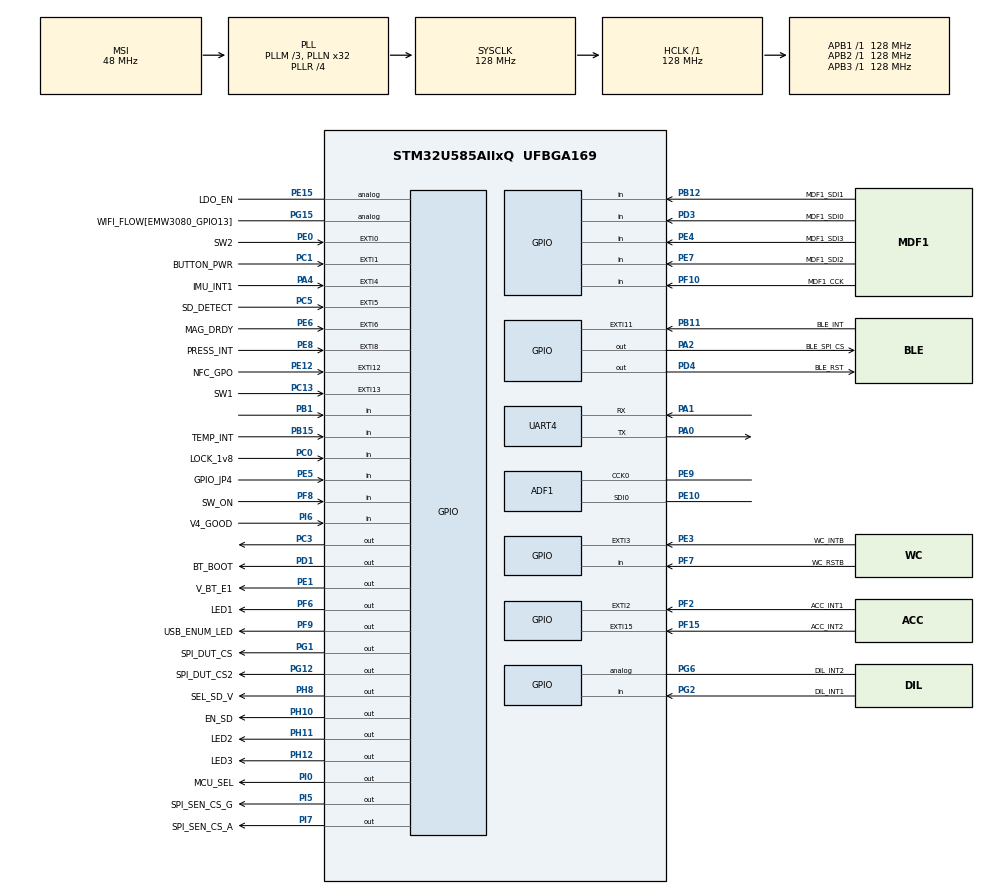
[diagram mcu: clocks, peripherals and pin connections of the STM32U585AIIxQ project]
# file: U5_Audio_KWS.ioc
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ADF1.MDF_COMPARAM_ActivationOutputClock=ENABLE
ADF1.MDF_COMPARAM_Divider=8
ADF1.MDF_COMPARAM_ProcClockDivider=1
ADF1.MDF_DFLT0_CIC_Mode=MDF_ONE_FILTER_SINC5
ADF1.MDF_DFLT0_Decimation=32
ADF1.MDF_DFLT0_Gain=0
ADF1.MDF_DFLT0_HighPassFilterActivation=ENABLE
ADF1.MDF_DFLT0_ReshapeFilterActivation=ENABLE
ADF1.MDF_DFLT0_ReshapeFilterDecimationRatio=MDF_RSF_DECIMATION_RATIO_4
ADF1.MDF_DFLT0_SADActivation=DISABLE
ADF1.MDF_SITF0_Mode_Display=MDF_SITF_NORMAL_SPI_MODE
CORTEX_M33_NS.userName=CORTEX_M33
GPDMA1.CIRCULARMODE_GPDMACH0=ENABLE
GPDMA1.DATAHANDLING_GPDMACH0=ENABLE
GPDMA1.DESTDATAWIDTH_GPDMACH0=DMA_DEST_DATAWIDTH_HALFWORD
GPDMA1.DESTINC_GPDMACH0=DMA_DINC_INCREMENTED
GPDMA1.IPHANDLE_GPDMACH0-SIMPLEREQUEST_GPDMACH0=__NULL
GPDMA1.REQUEST_GPDMACH0=GPDMA1_REQUEST_ADF1_FLT0
GPDMA1.SRCDATAWIDTH_GPDMACH0=DMA_SRC_DATAWIDTH_HALFWORD
GPDMA1.TRANSFERALLOCATEDPORTDEST_GPDMACH0=DMA_DEST_ALLOCATED_PORT0
Mcu.Family=STM32U5
Mcu.Name=STM32U585AIIxQ
Mcu.Package=UFBGA169
NVIC.ADF1_IRQn=true\:0\:0\:false\:false\:true\:true\:true\:true
NVIC.EXTI0_IRQn=true\:7\:0\:true\:false\:true\:true\:true\:false
NVIC.EXTI11_IRQn=true\:0\:0\:false\:false\:true\:true\:true\:true
NVIC.EXTI13_IRQn=true\:0\:0\:false\:false\:true\:true\:true\:true
NVIC.EXTI15_IRQn=true\:7\:0\:true\:false\:true\:true\:true\:false
NVIC.EXTI1_IRQn=true\:7\:0\:true\:false\:true\:true\:true\:false
NVIC.EXTI2_IRQn=true\:7\:0\:true\:false\:true\:true\:true\:false
NVIC.EXTI3_IRQn=true\:7\:0\:true\:false\:true\:true\:true\:false
NVIC.EXTI4_IRQn=true\:7\:0\:true\:false\:true\:true\:true\:false
NVIC.EXTI5_IRQn=true\:7\:0\:true\:false\:true\:true\:true\:false
NVIC.EXTI6_IRQn=true\:7\:0\:true\:false\:true\:true\:true\:false
NVIC.EXTI8_IRQn=true\:7\:0\:true\:false\:true\:true\:true\:true
NVIC.GPDMA1_Channel0_IRQn=true\:0\:0\:false\:false\:true\:false\:true\:true
NVIC.PriorityGroup=NVIC_PRIORITYGROUP_4
PA0.Mode=Asynchronous
PA0.Signal=UART4_TX
PA1.Mode=Asynchronous
PA1.Signal=UART4_RX
PA10.Signal=SAI1_SD_A
PA11.GPIO_Speed=GPIO_SPEED_FREQ_VERY_HIGH
PA11.Signal=USB_OTG_FS_DM
PA12.GPIO_Speed=GPIO_SPEED_FREQ_VERY_HIGH
PA12.PinAttribute=Free
PA12.Signal=USB_OTG_FS_DP
PA13\ (JTMS/SWDIO).Signal=DEBUG_JTMS-SWDIO
PA14\ (JTCK/SWCLK).Signal=DEBUG_JTCK-SWCLK
PA2.GPIO_Label=BLE_SPI_CS
PA2.Signal=GPIO_Output
PA4.GPIO_Label=IMU_INT1
PA4.Signal=GPXTI4
PA5.GPIO_PuPd=GPIO_PULLUP
PA5.GPIO_Speed=GPIO_SPEED_FREQ_HIGH
PA5.Signal=SPI1_SCK
PA6.GPIO_Speed=GPIO_SPEED_FREQ_HIGH
PA6.PinAttribute=Free
PA6.Signal=SPI1_MISO
PA7.GPIO_Speed=GPIO_SPEED_FREQ_HIGH
PA7.Signal=SPI1_MOSI
PA8.Signal=SAI1_SCK_A
PA9.Signal=SAI1_FS_A
PB0.GPIO_Label=VBATT
PB0.Signal=ADC1_IN15
PB1.Signal=GPIO_Input
PB10.Signal=S_TIM2_CH3
PB11.GPIO_Label=BLE_INT
PB11.Signal=GPXTI11
PB12.GPIO_Label=MDF1_SDI1
PB12.Signal=GPIO_Input
PB13.Signal=I2C2_SCL
PB14.Signal=I2C2_SDA
PB15.GPIO_Label=TEMP_INT
PB15.Signal=GPIO_Input
PB3\ (JTDO/TRACESWO).Signal=DEBUG_JTDO-SWO
PB5.GPIO_Speed=GPIO_SPEED_FREQ_HIGH
PB5.Signal=SPI3_MOSI
PB6.Signal=I2C1_SCL
PB7.Signal=I2C1_SDA
PB8.Signal=SDMMC1_CKIN
PB9.Signal=SDMMC1_CDIR
PC0.GPIO_Label=LOCK_1v8
PC0.Signal=GPIO_Input
PC1.GPIO_Label=BUTTON_PWR
PC1.Signal=GPXTI1
PC10.Signal=SDMMC1_D2
PC11.Signal=SDMMC1_D3
PC12.Signal=SDMMC1_CK
PC13.GPIO_Label=SW1
PC13.Signal=GPXTI13
PC14-OSC32_IN\ (PC14).Signal=RCC_OSC32_IN
PC15-OSC32_OUT\ (PC15).Signal=RCC_OSC32_OUT
PC3.PinState=GPIO_PIN_SET
PC3.Signal=GPIO_Output
PC5.GPIO_Label=SD_DETECT
PC5.Signal=GPXTI5
PC6.Signal=SDMMC1_D0DIR
PC7.Signal=SDMMC1_D123DIR
PC8.PinAttribute=Free
PC8.Signal=SDMMC1_D0
PC9.PinAttribute=Free
PC9.Signal=SDMMC1_D1
PD1.GPIO_Label=BT_BOOT
PD1.Signal=GPIO_Output
PD12.Signal=I2C4_SCL
PD13.Signal=I2C4_SDA
PD2.Signal=SDMMC1_CMD
PD3.GPIO_Label=MDF1_SDI0
PD3.Signal=GPIO_Input
PD4.GPIO_Label=BLE_RST
PD4.Signal=GPIO_Output
PD5.Signal=USART2_TX
PD6.Signal=USART2_RX
PE0.GPIO_Label=SW2
PE0.Signal=GPXTI0
PE1.GPIO_Label=V_BT_E1
PE1.PinState=GPIO_PIN_SET
PE1.Signal=GPIO_Output
PE10.Mode=MOD_ADF_CCK
PE10.Signal=ADF1_SDI0
PE12.GPIO_Label=NFC_GPO
PE12.Signal=GPXTI12
PE13.GPIO_Label=PWM_OUT_T1_C3
PE13.Signal=S_TIM1_CH3
PE15.GPIO_Label=LDO_EN
PE15.Signal=GPIO_Analog
PE2.PinAttribute=Free
PE2.Signal=SAI1_MCLK_A
PE3.GPIO_Label=WC_INTB
PE3.Signal=GPXTI3
PE4.GPIO_Label=MDF1_SDI3
PE4.Signal=GPIO_Input
PE5.GPIO_Label=GPIO_JP4
PE5.Signal=GPIO_Input
PE6.GPIO_Label=MAG_DRDY
PE6.Signal=GPXTI6
PE7.GPIO_Label=MDF1_SDI2
PE7.Signal=GPIO_Input
PE8.GPIO_Label=PRESS_INT
PE8.Signal=GPXTI8
PE9.Mode=MOD_MDF_CCK0
PE9.Signal=ADF1_CCK0
PF10.GPIO_Label=MDF1_CCK
PF10.Signal=GPIO_Input
PF15.GPIO_Label=ACC_INT2
PF15.Signal=GPXTI15
PF2.GPIO_Label=ACC_INT1
PF2.GPIO_PuPd=GPIO_PULLDOWN
PF2.Signal=GPXTI2
PF6.GPIO_Label=LED1
PF6.Signal=GPIO_Output
PF7.GPIO_Label=WC_RSTB
PF7.Signal=GPIO_Input
PF8.GPIO_Label=SW_ON
PF8.Signal=GPIO_Input
PF9.GPIO_Label=USB_ENUM_LED
PF9.Signal=GPIO_Output
PG1.GPIO_Label=SPI_DUT_CS
PG1.Signal=GPIO_Output
PG10.GPIO_Speed=GPIO_SPEED_FREQ_HIGH
PG10.Signal=SPI3_MISO
PG12.GPIO_Label=SPI_DUT_CS2
PG12.Signal=GPIO_Output
PG15.GPIO_Label=WIFI_FLOW[EMW3080_GPIO13]
PG15.PinAttribute=Free
PG15.Signal=GPIO_Analog
PG2.GPIO_Label=DIL_INT1
PG2.Signal=GPIO_Input
PG6.GPIO_Label=DIL_INT2
PG6.Signal=GPIO_Analog
PG7.PinAttribute=Free
PG7.Signal=I2C3_SCL
PG8.Signal=I2C3_SDA
PG9.GPIO_PuPd=GPIO_PULLUP
PG9.GPIO_Speed=GPIO_SPEED_FREQ_HIGH
PG9.Signal=SPI3_SCK
PH0-OSC_IN\ (PH0).Mode=HSE-External-Oscillator
PH0-OSC_IN\ (PH0).Signal=RCC_OSC_IN
PH1-OSC_OUT\ (PH1).Mode=HSE-External-Oscillator
PH1-OSC_OUT\ (PH1).Signal=RCC_OSC_OUT
PH10.GPIO_Label=EN_SD
PH10.Signal=GPIO_Output
PH11.GPIO_Label=LED2
PH11.Signal=GPIO_Output
PH12.GPIO_Label=LED3
PH12.Signal=GPIO_Output
PH8.GPIO_Label=SEL_SD_V
PH8.Signal=GPIO_Output
PI0.GPIO_Label=MCU_SEL
PI0.PinState=GPIO_PIN_SET
PI0.Signal=GPIO_Output
PI1.GPIO_PuPd=GPIO_PULLUP
PI1.GPIO_Speed=GPIO_SPEED_FREQ_HIGH
PI1.Signal=SPI2_SCK
PI2.GPIO_Speed=GPIO_SPEED_FREQ_HIGH
PI2.Signal=SPI2_MISO
PI3.GPIO_Speed=GPIO_SPEED_FREQ_HIGH
PI3.Signal=SPI2_MOSI
PI5.GPIO_Label=SPI_SEN_CS_G
PI5.PinState=GPIO_PIN_SET
PI5.Signal=GPIO_Output
PI6.GPIO_Label=V4_GOOD
PI6.PinAttribute=Free
PI6.Signal=GPIO_Input
PI7.GPIO_Label=SPI_SEN_CS_A
PI7.PinState=GPIO_PIN_SET
PI7.Signal=GPIO_Output
PWR.PowerMode=PWR_SMPS_SUPPLY
ProjectManager.HeapSize=0x2000
ProjectManager.StackSize=0x4000
ProjectManager.TargetToolchain=STM32CubeIDE
RCC.ADCCLockSelection=RCC_ADCDACCLKSOURCE_PLL2
RCC.ADCFreq_Value=46080000
RCC.AHBFreq_Value=128000000
RCC.APB1Freq_Value=128000000
RCC.APB1TimFreq_Value=128000000
RCC.APB2Freq_Value=128000000
RCC.APB2TimFreq_Value=128000000
RCC.APB3Freq_Value=128000000
RCC.AdfClockSelection=RCC_ADF1CLKSOURCE_MSIK
RCC.CortexFreq_Value=128000000
RCC.DACCLockSelectionVirtual=RCC_DAC1CLKSOURCE_LSI
RCC.EPOD_VALUE=48000000
RCC.HCLKFreq_Value=128000000
RCC.HSE_VALUE=16000000
RCC.HSI48_VALUE=48000000
RCC.HSI_VALUE=16000000
RCC.LSIDIV_VALUE=32000
RCC.MSIClockRange=RCC_MSIRANGE_0
RCC.MSIKClockRange=RCC_MSIKRANGE_2
RCC.MSI_VALUE=48000000
RCC.MdfClockSelection=RCC_MDF1CLKSOURCE_PLL3
RCC.PLL1P=1
RCC.PLL1R=4
RCC.PLL2FRACN=0
RCC.PLL2M=2
RCC.PLL2N=48
RCC.PLL2Q=7
RCC.PLL2R=25
RCC.PLL3FRACN=0
RCC.PLL3M=3
RCC.PLL3N=25
RCC.PLL3Q=25
RCC.PLLFRACN=0
RCC.PLLM=3
RCC.PLLN=32
RCC.SAI1CLockSelection=RCC_SAI1CLKSOURCE_PLL1
RCC.SDMMCClockSelection=RCC_SDMMCCLKSOURCE_CLK48
RCC.SPI2CLockSelection=RCC_SPI2CLKSOURCE_PCLK1
RCC.SPI3CLockSelection=RCC_SPI3CLKSOURCE_HSI
RCC.SYSCLKFreq_VALUE=128000000
RCC.SYSCLKSource=RCC_SYSCLKSOURCE_PLLCLK
RCC.USBFreq_Value=48000000
RCC.VCOOutputFreq_Value=512000000
SH.S_TIM1_CH3.0=TIM1_CH3
SH.S_TIM2_CH3.0=TIM2_CH3
VP_GPDMA1_VS_GPDMACH0.Mode=SIMPLEREQUEST_GPDMACH0
VP_ICACHE_VS_ICACHE.Mode=DirectMappedCache
VP_LPBAMQUEUE_VS_QUEUE.Mode=QUEUEMODE
VP_LPBAM_VS_SIG1.Mode=SmartRun
VP_LPBAM_VS_SIG4.Mode=LPDMA1
VP_MEMORYMAP_VS_MEMORYMAP.Mode=CurAppReg
VP_PWR_VS_LPOM.Mode=PowerOptimisation
VP_PWR_VS_SECSignals.Mode=Security/Privilege
board=STEVAL-MKBOXPRO

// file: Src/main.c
/* USER CODE BEGIN Header */
/**
  ******************************************************************************
  * @file           : main.c
  * @brief          : Main program body
  ******************************************************************************
  * @attention
  *
  * Copyright (c) 2026 STMicroelectronics.
  * All rights reserved.
  *
  * This software is licensed under terms that can be found in the LICENSE file
  * in the root directory of this software component.
  * If no LICENSE file comes with this software, it is provided AS-IS.
  *
  ******************************************************************************
  */
/* USER CODE END Header */
#include "main.h"
#include "mdf.h"
#include "gpdma.h"
#include "icache.h"
#include "usart.h"
#include "gpio.h"

/* USER CODE BEGIN Includes */
#include "stdio.h"
/* USER CODE END Includes */

/* USER CODE BEGIN PM */
#define AUDIO_SAMPLES 16000
#define DURATION 2U
#define TOTAL_SAMPLES (AUDIO_SAMPLES * DURATION)
/* USER CODE END PM */

/* USER CODE BEGIN PV */
volatile uint8_t audio_start = 0U;
ALIGN_32BYTES(uint16_t audio_buffer[TOTAL_SAMPLES]);
MDF_DmaConfigTypeDef dma_config;
/* USER CODE END PV */

void SystemClock_Config(void);
static void SystemPower_Config(void);

/* USER CODE BEGIN 0 */
int _write(int file, char *ptr, int len){
	HAL_UART_Transmit(&huart4,(uint8_t*)ptr,len,1000);
	return len;
}
volatile uint8_t audio_half_done = 0U;
volatile uint8_t audio_error = 0U;
volatile uint32_t audio_error_code = 0U;

void HAL_MDF_AcqCpltCallback(MDF_HandleTypeDef *hmdf){
	if (hmdf->Instance == ADF1_Filter0) {
		audio_start = 2U;
	}
}
void HAL_MDF_AcqHalfCpltCallback(MDF_HandleTypeDef *hmdf){
	if (hmdf->Instance == ADF1_Filter0) {
		audio_half_done = 1U;
	}
}
void HAL_MDF_ErrorCallback(MDF_HandleTypeDef *hmdf){
	if (hmdf->Instance == ADF1_Filter0) {
		audio_error = 1U;
		audio_error_code = hmdf->ErrorCode;
	}
}
/* USER CODE END 0 */

int main(void)
{

  /* MCU Configuration--------------------------------------------------------*/

  /* Reset of all peripherals, Initializes the Flash interface and the Systick. */
  HAL_Init();

  /* Configure the System Power */
  SystemPower_Config();

  /* Configure the system clock */
  SystemClock_Config();

  /* Initialize all configured peripherals */
  MX_GPIO_Init();
  MX_GPDMA1_Init();
  MX_ADF1_Init();
  MX_UART4_Init();
  MX_ICACHE_Init();

  /* Infinite loop */
  /* USER CODE BEGIN WHILE */
  while (1)
  {
	  if(audio_start == 1){
		  audio_start=0U;
		  HAL_GPIO_WritePin(LED1_GPIO_Port,LED1_Pin,GPIO_PIN_RESET);
		  HAL_GPIO_WritePin(LED3_GPIO_Port,LED3_Pin,GPIO_PIN_SET);
		  dma_config.Address = (uint32_t) audio_buffer;
		  dma_config.DataLength = TOTAL_SAMPLES * 2;
		  dma_config.MsbOnly = ENABLE;
		  if(HAL_MDF_AcqStart_DMA(&AdfHandle0,&AdfFilterConfig0,&dma_config)!=HAL_OK){
			  Error_Handler();
		  }
	  } else if (audio_start == 2){
		  HAL_MDF_AcqStop_DMA(&AdfHandle0);
		  HAL_GPIO_WritePin(LED3_GPIO_Port,LED3_Pin,GPIO_PIN_RESET);
		  HAL_GPIO_WritePin(LED1_GPIO_Port,LED1_Pin,GPIO_PIN_SET);
		  printf("audio acquisition completed\r\n");
		  audio_start = 0U;
	  }

	  if(audio_half_done){
		  audio_half_done = 0U;
		  printf("half done\r\n");
	  }

	  if(audio_error){
		  audio_error = 0U;
		  printf("Error Code: %ld\r\n", audio_error_code);
		  Error_Handler();
	  }
    /* USER CODE END WHILE */

  }
}

void SystemClock_Config(void)
{
  RCC_OscInitTypeDef RCC_OscInitStruct = {0};
  RCC_ClkInitTypeDef RCC_ClkInitStruct = {0};

  /** Configure the main internal regulator output voltage
  */
  if (HAL_PWREx_ControlVoltageScaling(PWR_REGULATOR_VOLTAGE_SCALE1) != HAL_OK)
  {
    Error_Handler();
  }

  /** Initializes the CPU, AHB and APB buses clocks
  */
  RCC_OscInitStruct.OscillatorType = RCC_OSCILLATORTYPE_MSI|RCC_OSCILLATORTYPE_MSIK;
  RCC_OscInitStruct.MSIState = RCC_MSI_ON;
  RCC_OscInitStruct.MSICalibrationValue = RCC_MSICALIBRATION_DEFAULT;
  RCC_OscInitStruct.MSIClockRange = RCC_MSIRANGE_0;
  RCC_OscInitStruct.MSIKClockRange = RCC_MSIKRANGE_2;
  RCC_OscInitStruct.MSIKState = RCC_MSIK_ON;
  RCC_OscInitStruct.PLL.PLLState = RCC_PLL_ON;
  RCC_OscInitStruct.PLL.PLLSource = RCC_PLLSOURCE_MSI;
  RCC_OscInitStruct.PLL.PLLMBOOST = RCC_PLLMBOOST_DIV4;
  RCC_OscInitStruct.PLL.PLLM = 3;
  RCC_OscInitStruct.PLL.PLLN = 32;
  RCC_OscInitStruct.PLL.PLLP = 1;
  RCC_OscInitStruct.PLL.PLLQ = 2;
  RCC_OscInitStruct.PLL.PLLR = 4;
  RCC_OscInitStruct.PLL.PLLRGE = RCC_PLLVCIRANGE_1;
  RCC_OscInitStruct.PLL.PLLFRACN = 0;
  if (HAL_RCC_OscConfig(&RCC_OscInitStruct) != HAL_OK)
  {
    Error_Handler();
  }

  /** Initializes the CPU, AHB and APB buses clocks
  */
  RCC_ClkInitStruct.ClockType = RCC_CLOCKTYPE_HCLK|RCC_CLOCKTYPE_SYSCLK
                              |RCC_CLOCKTYPE_PCLK1|RCC_CLOCKTYPE_PCLK2
                              |RCC_CLOCKTYPE_PCLK3;
  RCC_ClkInitStruct.SYSCLKSource = RCC_SYSCLKSOURCE_PLLCLK;
  RCC_ClkInitStruct.AHBCLKDivider = RCC_SYSCLK_DIV1;
  RCC_ClkInitStruct.APB1CLKDivider = RCC_HCLK_DIV1;
  RCC_ClkInitStruct.APB2CLKDivider = RCC_HCLK_DIV1;
  RCC_ClkInitStruct.APB3CLKDivider = RCC_HCLK_DIV1;

  if (HAL_RCC_ClockConfig(&RCC_ClkInitStruct, FLASH_LATENCY_3) != HAL_OK)
  {
    Error_Handler();
  }
}

/**
  * @brief Power Configuration
  * @retval None
  */
static void SystemPower_Config(void)
{
  HAL_PWREx_EnableVddIO2();

  /*
   * Switch to SMPS regulator instead of LDO
   */
  if (HAL_PWREx_ConfigSupply(PWR_SMPS_SUPPLY) != HAL_OK)
  {
    Error_Handler();
  }
}

void Error_Handler(void)
{
  /* USER CODE BEGIN Error_Handler_Debug */
  HAL_GPIO_WritePin(LED2_GPIO_Port,LED2_Pin,GPIO_PIN_SET);
  /* User can add his own implementation to report the HAL error return state */
  __disable_irq();
  while (1)
  {
  }
  /* USER CODE END Error_Handler_Debug */
}
